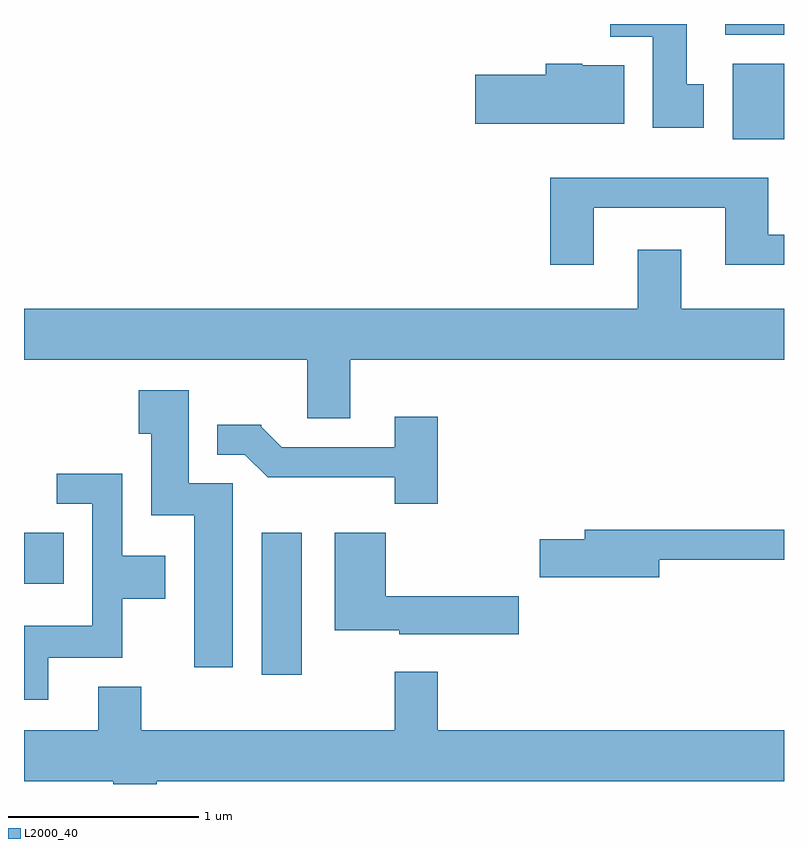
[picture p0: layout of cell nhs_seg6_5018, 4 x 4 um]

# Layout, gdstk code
import gdstk
lib = gdstk.Library(unit=1e-6, precision=1e-09)
def R(c, l, rs):  # rectangles x0, y0, x1, y1
    for r in rs: c.add(gdstk.rectangle(r[:2], r[2:], *l))
def P(c, l, *ps):  # polygons
    for p in ps: c.add(gdstk.Polygon(p, *l))
L2000_40 = (2000, 40)

nhs_seg6_5018 = lib.new_cell('nhs_seg6_5018')
R(nhs_seg6_5018, L2000_40, [(338.861,1632.736,339.074,1633.484), (337.611,1633.216,337.819,1633.484), (341.341,1635.556,341.611,1635.954), (341.301,1636.106,341.611,1636.162)])
P(nhs_seg6_5018, L2000_40, [(341.189,1635.844),(341.099,1635.844),(341.099,1636.162),(340.696,1636.162),(340.696,1636.096),(340.921,1636.096),(340.921,1635.616),(341.189,1635.616)],
  [(340.769,1635.944),(340.55,1635.944),(340.55,1635.954),(340.356,1635.954),(340.356,1635.894),(339.986,1635.894),(339.986,1635.636),(340.769,1635.636)],
  [(340.609,1635.196),(341.301,1635.196),(341.301,1634.896),(341.611,1634.896),(341.611,1635.054),(341.529,1635.054),(341.529,1635.354),(340.381,1635.354),(340.381,1634.896),(340.609,1634.896)],
  [(339.329,1634.396),(341.611,1634.396),(341.611,1634.664),(341.069,1634.664),(341.069,1634.974),(340.841,1634.974),(340.841,1634.664),(337.611,1634.664),(337.611,1634.396),(339.101,1634.396),(339.101,1634.086),(339.329,1634.086)],
  [(338.709,1633.744),(338.479,1633.744),(338.479,1634.234),(338.216,1634.234),(338.216,1634.006),(338.281,1634.006),(338.281,1633.576),(338.506,1633.576),(338.506,1632.776),(338.709,1632.776)],
  [(339.789,1634.094),(339.561,1634.094),(339.561,1633.934),(338.967,1633.934),(338.86,1634.041),(338.86,1634.054),(338.628,1634.054),(338.628,1633.896),(338.774,1633.896),(338.894,1633.776),(339.561,1633.776),(339.561,1633.636),(339.789,1633.636)],
  [(337.739,1632.826),(338.129,1632.826),(338.129,1633.136),(338.354,1633.136),(338.354,1633.364),(338.129,1633.364),(338.129,1633.794),(337.783,1633.794),(337.783,1633.636),(337.971,1633.636),(337.971,1632.994),(337.611,1632.994),(337.611,1632.606),(337.739,1632.606)],
  [(340.954,1633.341),(341.611,1633.341),(341.611,1633.499),(340.561,1633.499),(340.561,1633.449),(340.326,1633.449),(340.326,1633.251),(340.954,1633.251)],
  [(340.214,1633.149),(339.514,1633.149),(339.514,1633.484),(339.246,1633.484),(339.246,1632.971),(339.586,1632.971),(339.586,1632.951),(340.214,1632.951)],
  [(338.309,1632.176),(341.611,1632.176),(341.611,1632.444),(339.789,1632.444),(339.789,1632.754),(339.561,1632.754),(339.561,1632.444),(338.229,1632.444),(338.229,1632.674),(338.001,1632.674),(338.001,1632.444),(337.611,1632.444),(337.611,1632.176),(338.081,1632.176),(338.081,1632.162),(338.309,1632.162)])

lib.write_gds('nhs_seg6_5018.gds')
